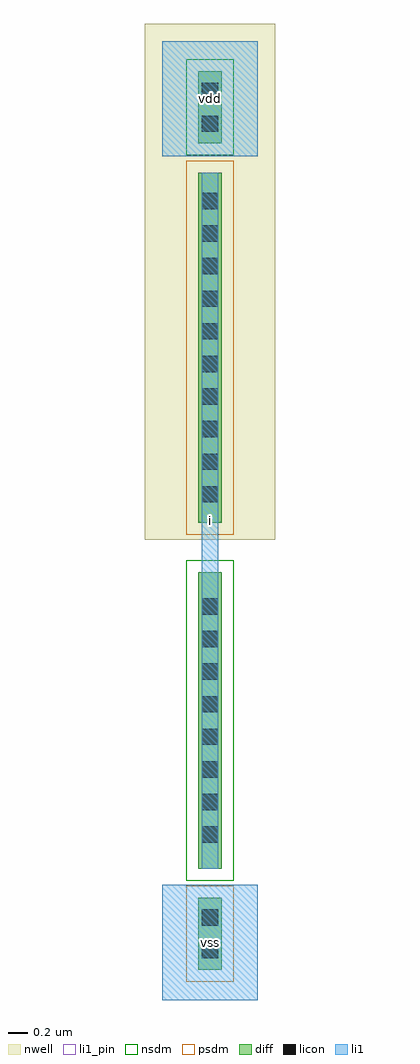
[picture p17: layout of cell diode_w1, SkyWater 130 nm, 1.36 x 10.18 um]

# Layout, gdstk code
import gdstk
lib = gdstk.Library(unit=1e-6, precision=1e-09)
def R(c, l, rs):  # rectangles x0, y0, x1, y1
    for r in rs: c.add(gdstk.rectangle(r[:2], r[2:], *l))
def A(c, l, x, y, w, h, nx, ny, dx, dy):  # array of equal rectangles
    R(c, l, [(x+i*dx, y+j*dy, x+i*dx+w, y+j*dy+h) for i in range(nx) for j in range(ny)])
nwell = (64, 20)
diff = (65, 20)
licon = (66, 44)
li1_pin = (67, 16)
li1 = (67, 20)
nsdm = (93, 44)
psdm = (94, 20)

diode_w1 = lib.new_cell('diode_w1')
R(diode_w1, nwell, [(-0.18,4.8,1.18,10.18)])
R(diode_w1, diff, [(0.375,0.315,0.625,1.065), (0.375,1.37,0.625,4.46), (0.375,4.98,0.625,8.63), (0.375,8.935,0.625,9.685)])
A(diode_w1, licon, 0.415, 1.64, 0.17, 0.17, 1, 8, 0, 0.34)
A(diode_w1, licon, 0.415, 5.19, 0.17, 0.17, 1, 10, 0, 0.34)
R(diode_w1, licon, [(0.415,0.435,0.585,0.605), (0.415,0.775,0.585,0.945), (0.415,9.055,0.585,9.225), (0.415,9.395,0.585,9.565)])
R(diode_w1, li1_pin, [(0,0,1,1.2), (0.415,1.37,0.585,8.63), (0,8.8,1,10)])
R(diode_w1, li1, [(0,0,1,1.2), (0.415,1.37,0.585,8.63), (0,8.8,1,10)])
R(diode_w1, nsdm, [(0.25,1.245,0.75,4.585), (0.25,8.81,0.75,9.81)])
R(diode_w1, psdm, [(0.25,0.19,0.75,1.19), (0.25,4.855,0.75,8.755)])
diode_w1.add(gdstk.Label('vdd', (0.5,9.4), layer=67, texttype=16))
diode_w1.add(gdstk.Label('vss', (0.5,0.6), layer=67, texttype=16))
diode_w1.add(gdstk.Label('i', (0.5,5), layer=67, texttype=16))
diode_w1.add(gdstk.Label('vdd', (0.5,9.4), layer=67, texttype=16))
diode_w1.add(gdstk.Label('vss', (0.5,0.6), layer=67, texttype=16))
diode_w1.add(gdstk.Label('i', (0.5,5), layer=67, texttype=16))

lib.write_gds('diode_w1.gds')
